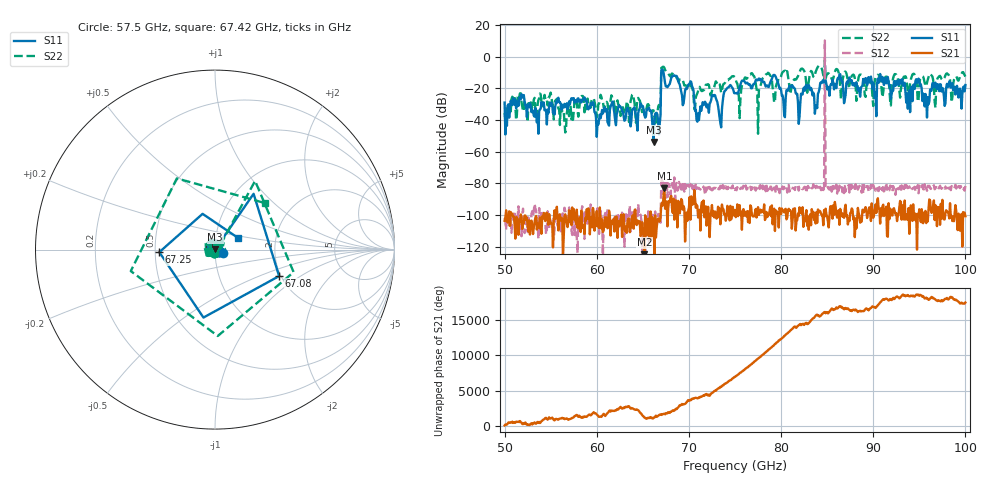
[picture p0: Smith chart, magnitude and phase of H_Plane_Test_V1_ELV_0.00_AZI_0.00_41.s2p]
! 11/27/2026 8:28:47 AM
! C:\ANRITSUVNA\TEMP\TEMP.S2P
! CHANNEL.1
! TR.MEASUREMENT
! RAW.DATA
# HZ S RI R 50.0
! FREQ.HZ  S11RE  S11IM  S21RE  S21IM  S12RE  S12IM  S22RE  S22IM
!; PortSelection: Port_12
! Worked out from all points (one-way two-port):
!   601 points, 50 GHz to 100 GHz, reference 50 ohm
!   highest |S21| = -82.86 dB at 67.33 GHz (marker M1); lowest = -130.0 dB at 65.17 GHz (marker M2)
!   lowest |S11| = -53.8 dB at 66.17 GHz (marker M3), VSWR 1.00, Z = 50.1 + j0.152 ohm
!   |S11| at or under -10 dB: start of sweep to 67 GHz; 67.24 GHz to end of sweep
!   |S22| runs from -48.7 to -2.1 dB; largest |S21 - S12| = 3.3
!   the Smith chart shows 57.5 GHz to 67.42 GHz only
!   S11 on the Smith chart (normalised r, x): 57.5 GHz: 1.09, -0.05; 67.08 GHz: 1.96, -0.68; 67.25 GHz: 0.53, -0.02; 67.42 GHz: 1.29, +0.17
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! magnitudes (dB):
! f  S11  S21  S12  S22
! 50 GHz  -29.0  -103.7  -101.8  -35.5
! 57.5 GHz  -26.1  -96.2  -100.4  -34.5
! 58.42 GHz  -27.1  -108.2  -94.5  -24.8
! 60.17 GHz  -42.9  -104.8  -105.1  -30.2
! 65.17 GHz  -36.6  -130.0  -109.8  -36.2
! 66.17 GHz  -53.8  -104.0  -109.9  -34.0
! 66.67 GHz  -41.8  -102.1  -99.3  -31.6
! 67.08 GHz  -8.3  -92.2  -75.7  -6.8
! 67.25 GHz  -10.2  -87.8  -79.5  -6.3
! 67.33 GHz  -13.5  -82.9  -80.0  -6.9
! 67.42 GHz  -16.8  -96.0  -89.6  -8.4
! 70.25 GHz  -16.0  -88.2  -82.2  -18.7
! 70.92 GHz  -41.0  -94.4  -82.7  -23.1
! 75 GHz  -23.1  -96.8  -84.2  -13.0
! 77.58 GHz  -13.8  -100.0  -82.0  -21.7
! 83.42 GHz  -24.5  -100.6  -83.0  -10.8
! 84.42 GHz  -16.6  -100.2  -84.1  -7.5
! 84.5 GHz  -15.1  -100.0  -82.0  -9.3
! 85 GHz  -20.6  -101.1  -83.6  -10.9
! 85.08 GHz  -19.0  -103.9  -82.3  -10.4
! 91.67 GHz  -16.6  -92.6  -83.7  -15.3
! 100 GHz  -17.9  -100.8  -81.6  -12.5
